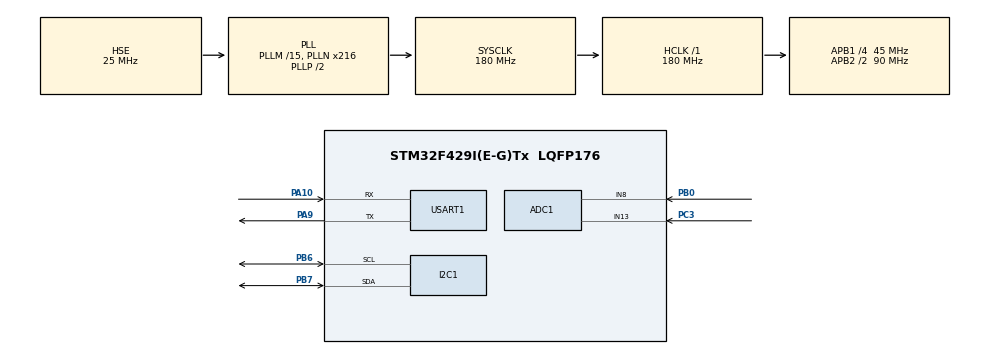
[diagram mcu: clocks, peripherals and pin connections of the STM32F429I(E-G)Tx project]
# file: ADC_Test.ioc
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ADC1.Channel-1\#ChannelRegularConversion=ADC_CHANNEL_13
ADC1.Channel-2\#ChannelRegularConversion=ADC_CHANNEL_8
ADC1.ContinuousConvMode=ENABLE
ADC1.DMAContinuousRequests=ENABLE
ADC1.NbrOfConversion=2
ADC1.NbrOfConversionFlag=1
ADC1.Rank-1\#ChannelRegularConversion=1
ADC1.Rank-2\#ChannelRegularConversion=2
ADC1.SamplingTime-1\#ChannelRegularConversion=ADC_SAMPLETIME_144CYCLES
ADC1.SamplingTime-2\#ChannelRegularConversion=ADC_SAMPLETIME_144CYCLES
ADC1.ScanConvMode=ENABLE
ADC1.master=1
Dma.ADC1.0.Direction=DMA_PERIPH_TO_MEMORY
Dma.ADC1.0.FIFOMode=DMA_FIFOMODE_DISABLE
Dma.ADC1.0.Instance=DMA2_Stream0
Dma.ADC1.0.MemDataAlignment=DMA_MDATAALIGN_HALFWORD
Dma.ADC1.0.MemInc=DMA_MINC_ENABLE
Dma.ADC1.0.Mode=DMA_CIRCULAR
Dma.ADC1.0.PeriphDataAlignment=DMA_PDATAALIGN_HALFWORD
Dma.ADC1.0.PeriphInc=DMA_PINC_DISABLE
Dma.ADC1.0.Priority=DMA_PRIORITY_LOW
Dma.Request0=ADC1
Mcu.Family=STM32F4
Mcu.Name=STM32F429I(E-G)Tx
Mcu.Package=LQFP176
NVIC.DMA2_Stream0_IRQn=true\:0\:0\:false\:false\:true\:false\:true\:true
NVIC.PriorityGroup=NVIC_PRIORITYGROUP_4
NVIC.TIM6_DAC_IRQn=true\:0\:0\:false\:false\:true\:true\:true\:true
PA10.Mode=Asynchronous
PA10.Signal=USART1_RX
PA13.Mode=Serial_Wire
PA13.Signal=SYS_JTMS-SWDIO
PA14.Mode=Serial_Wire
PA14.Signal=SYS_JTCK-SWCLK
PA9.Mode=Asynchronous
PA9.Signal=USART1_TX
PB0.Signal=ADCx_IN8
PB6.Mode=I2C
PB6.Signal=I2C1_SCL
PB7.Mode=I2C
PB7.Signal=I2C1_SDA
PC3.Signal=ADCx_IN13
PH0/OSC_IN.Mode=HSE-External-Oscillator
PH0/OSC_IN.Signal=RCC_OSC_IN
PH1/OSC_OUT.Mode=HSE-External-Oscillator
PH1/OSC_OUT.Signal=RCC_OSC_OUT
ProjectManager.HeapSize=0x200
ProjectManager.StackSize=0x400
ProjectManager.TargetToolchain=MDK-ARM V5.32
RCC.48MHZClocksFreq_Value=90000000
RCC.AHBFreq_Value=180000000
RCC.APB1CLKDivider=RCC_HCLK_DIV4
RCC.APB1Freq_Value=45000000
RCC.APB1TimFreq_Value=90000000
RCC.APB2CLKDivider=RCC_HCLK_DIV2
RCC.APB2Freq_Value=90000000
RCC.APB2TimFreq_Value=180000000
RCC.CortexFreq_Value=180000000
RCC.HCLKFreq_Value=180000000
RCC.HSE_VALUE=25000000
RCC.HSI_VALUE=16000000
RCC.LSE_VALUE=32768
RCC.PLLM=15
RCC.PLLN=216
RCC.PLLSourceVirtual=RCC_PLLSOURCE_HSE
RCC.SYSCLKFreq_VALUE=180000000
RCC.SYSCLKSource=RCC_SYSCLKSOURCE_PLLCLK
RCC.VCOOutputFreq_Value=360000000
SH.ADCx_IN13.0=ADC1_IN13,IN13
SH.ADCx_IN8.0=ADC1_IN8,IN8
TIM6.Period=99
TIM6.Prescaler=8999
USART1.VirtualMode=VM_ASYNC
VP_TIM6_VS_ClockSourceINT.Mode=Enable_Timer
board=custom

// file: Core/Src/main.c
/* USER CODE BEGIN Header */
/**
  ******************************************************************************
  * @file           : main.c
  * @brief          : Main program body
  ******************************************************************************
  * @attention
  *
  * Copyright (c) 2026 STMicroelectronics.
  * All rights reserved.
  *
  * This software is licensed under terms that can be found in the LICENSE file
  * in the root directory of this software component.
  * If no LICENSE file comes with this software, it is provided AS-IS.
  *
  ******************************************************************************
  */
/* USER CODE END Header */
#include "main.h"

/* USER CODE BEGIN Includes */

#include <stdio.h>
#include <string.h>
#include "oled.h"

/* USER CODE END Includes */

/* USER CODE BEGIN PD */
/* 迟滞回差（单位：光强的 1%，即 0~100 里的 2 格）
 * 含义：进入报警和解除报警用不同的门槛，中间这条窄带里保持原状态不动。 */
#define ALARM_HYST   2u
/* USER CODE END PD */

ADC_HandleTypeDef hadc1;
DMA_HandleTypeDef hdma_adc1;

I2C_HandleTypeDef hi2c1;

TIM_HandleTypeDef htim6;

UART_HandleTypeDef huart1;

void SystemClock_Config(void);
static void MX_GPIO_Init(void);
static void MX_DMA_Init(void);
static void MX_ADC1_Init(void);
static void MX_USART1_UART_Init(void);
static void MX_I2C1_Init(void);
static void MX_TIM6_Init(void);

/* USER CODE BEGIN 0 */

/* ============================================================================
 * TIM6 的 10ms 节拍计数
 *
 * 为什么是 volatile：
 *   它被【中断】里改、被【主循环】读。不加 volatile 的话，编译器看到主循环里
 *   没人改过它，可能把值缓存进寄存器 → 主循环永远读到旧值 → 一次都不采样。
 *
 * 为什么叫 tick10：
 *   每次中断代表 10ms，所以"20 个 tick" = 200ms。
 * ========================================================================== */
volatile uint32_t g_tick10 = 0;

/* ============================================================================
 * ADC 的 DMA 缓冲区
 *
 *   两个 uint16_t，对应 ADC 扫描的两个 Rank：
 *     adc_buf[0] ← Rank1 (IN13, PC3 电位器)
 *     adc_buf[1] ← Rank2 (IN8,  PB0 传感器)
 *
 * 为什么是 uint16_t 而不是 uint8_t：
 *   ADC 是 12 位，值域 0~4095，1 个字节装不下，必须 2 字节。
 *
 * 为什么要 volatile：
 *   它被 DMA（硬件）改、被主循环读。不加的话编译器可能把值缓存进寄存器，
 *   主循环就永远读到开机时的 0。
 * ========================================================================== */
volatile uint16_t adc_buf[2] = { 0u, 0u };

/* ============================================================================
 * 滑动平均滤波（提高任务）
 *
 * 原理：保留最近 N 次采样，取平均。随机噪声会被抹平，
 *       而真实的变化（转电位器、光照变化）因为比较慢，能保留下来。
 *
 * 实现技巧：不每次重新求和，而是"加上新的、减去旧的"。
 *       这样每次只要 1 次加、1 次减，不用循环 N 次。
 *       求和是精确的（加减的都是同一个数），不会累积误差。
 *
 * 代价：数据晚 N/2 次采样才完全反映上去 —— 平均是有"惯性"的。
 * ========================================================================== */
#define AVG_N   8                       /* 必须是 2 的幂，才好用 & 代替 % */

static uint16_t hPot[AVG_N] = { 0 };    /* 最近 N 次电位器采样 */
static uint16_t hSen[AVG_N] = { 0 };    /* 最近 N 次传感器采样 */
static uint8_t  hIdx = 0;               /* 当前写到第几格 */
static uint32_t sPot = 0;               /* 电位器的滑动和 */
static uint32_t sSen = 0;               /* 传感器的滑动和 */

/* 报警灯：板载 RGB 红灯 PH10。
 * 共阳极接法 → 输出低电平 = 点亮，输出高电平 = 熄灭。
 * 这里自己初始化，不依赖 CubeMX 里有没有配这个脚。 */
#define ALARM_LED_PORT   GPIOH
#define ALARM_LED_PIN    GPIO_PIN_10

static void LED_Init(void)
{
    GPIO_InitTypeDef g = {0};

    __HAL_RCC_GPIOH_CLK_ENABLE();
    g.Pin   = ALARM_LED_PIN;
    g.Mode  = GPIO_MODE_OUTPUT_PP;
    g.Pull  = GPIO_NOPULL;
    g.Speed = GPIO_SPEED_FREQ_LOW;
    HAL_GPIO_Init(ALARM_LED_PORT, &g);

    HAL_GPIO_WritePin(ALARM_LED_PORT, ALARM_LED_PIN, GPIO_PIN_SET);   /* 上电默认灭 */
}

static void LED_Set(uint8_t on)
{
    /* 共阳极：on=1 要拉低，on=0 要拉高 */
    HAL_GPIO_WritePin(ALARM_LED_PORT, ALARM_LED_PIN, on ? GPIO_PIN_RESET : GPIO_PIN_SET);
}

/* USER CODE END 0 */

int main(void)
{

  /* MCU Configuration--------------------------------------------------------*/

  /* Reset of all peripherals, Initializes the Flash interface and the Systick. */
  HAL_Init();

  /* Configure the system clock */
  SystemClock_Config();

  /* Initialize all configured peripherals */
  MX_GPIO_Init();
  MX_DMA_Init();
  MX_ADC1_Init();
  MX_USART1_UART_Init();
  MX_I2C1_Init();
  MX_TIM6_Init();
  /* USER CODE BEGIN 2 */
    LED_Init();
    OLED_Init();
    OLED_ShowStr(0, 0, "ADC Monitor", OLED_SIZE_8X16);

    /* 启动 TIM6 的 10ms 中断节拍（注意 IT：中断方式，不是纯硬件启动） */
    HAL_TIM_Base_Start_IT(&htim6);

    /* ===================== 启动 ADC + DMA（只调这一次！）=====================
     * 这一行之后，ADC 和 DMA 就自己跑起来了：
     *   ADC 连续转换 → 每转完 2 个（两路）就通知 DMA → DMA 搬进 adc_buf
     *   → 因为是 Circular 模式，搬完自动回到开头继续，永不停
     *
     * 主循环里再也不需要 HAL_ADC_Start / Poll。
     * ====================================================================== */
    HAL_ADC_Start_DMA(&hadc1, (uint32_t *)adc_buf, 2);

    /* 关掉 DMA 的"传输完成"中断。
     * CubeMX 的 NVIC 里那一项锁死不让取消，但寄存器层面可以屏蔽。
     * 我们要的是"安静地搬"——搬完不需要叫 CPU。 */
    __HAL_DMA_DISABLE_IT(hadc1.DMA_Handle, DMA_IT_TC);
  /* USER CODE END 2 */

  /* Infinite loop */
  while (1)
  {

    /* USER CODE BEGIN 3 */
    static uint32_t last  = 0;
    static uint8_t  alarm = 0;      /* 报警状态：必须跨轮次保持，迟滞才有意义 */

    /* 改成看 TIM6 的节拍：20 tick × 10ms = 200ms
     * 无符号相减天然能处理回绕，不用担心计数器溢出 */
    if (g_tick10 - last >= 20)
    {
        char     buf[48];
        uint32_t potRaw = 0, senRaw = 0;
        uint32_t potAvg = 0, senAvg = 0;
        uint32_t potMv  = 0, senMv  = 0;
        uint32_t lux    = 0;
        uint32_t thresh = 0;

        last = g_tick10;

        /* ===================== DMA 版本 =====================
         * 主循环里【不再启动转换、不再等待】——只读数组。
         *
         *   adc_buf[0] = Rank1 = IN13 = PC3 电位器
         *   adc_buf[1] = Rank2 = IN8  = PB0 传感器
         *
         * DMA 在后台不停地搬，我们每次过来拿最新的两份就行。
         * ================================================== */
        potRaw = adc_buf[0];
        senRaw = adc_buf[1];

        /* ===================== 滑动平均滤波 =====================
         * "加上新的、减去最旧的"，然后除以 N。
         * 用 >> 3 代替 / 8（N 是 2 的幂，移位比除法快得多） */
        sPot = sPot - hPot[hIdx] + potRaw;
        sSen = sSen - hSen[hIdx] + senRaw;
        hPot[hIdx] = (uint16_t)potRaw;
        hSen[hIdx] = (uint16_t)senRaw;
        hIdx = (uint8_t)((hIdx + 1u) & (AVG_N - 1u));

        potAvg = sPot >> 3;             /* / 8 */
        senAvg = sSen >> 3;

        /* 换算：电压(mV) = 原始值 × 3300 / 4095
         *
         * 分工（方便你对比滤波效果）：
         *   小字两行 = 原始值（会跳）
         *   大字两行 = 平均后的值（稳）
         */
        potMv = (potRaw * 3300u) / 4095u;
        senMv = (senRaw * 3300u) / 4095u;

        /* ===================== 任务三：可调阈值报警 =====================
         * 两路都换算到「0~100 的同一把尺子」再比：
         *   thresh —— 电位器拧出来的报警门槛
         *   lux    —— 当前光强（越亮越大）
         * 都换算之后再比较，逻辑才直观：光越亮越容易超线。
         * ============================================================= */
        thresh = (potAvg * 100u) / 4095u;
        lux    = ((4095u - senAvg) * 100u) / 4095u;   /* AO 随亮度下降，所以要取反 */

        /* 可调阈值报警（带迟滞）
         *   进入报警：lux 明确高于门槛（thresh + HYST）
         *   解除报警：lux 明确低于门槛（thresh - HYST）
         *   中间窄带保持原状态，避免阈值附近来回抖动。
         * 注意：迟滞靠"记住上次状态"生效，所以 alarm 必须是 static。 */
        {
            int32_t lo = (int32_t)thresh - (int32_t)ALARM_HYST;
            int32_t hi = (int32_t)thresh + (int32_t)ALARM_HYST;

            if ((int32_t)lux > hi)            /* 明显超过门槛 → 报警 */
            {
                alarm = 1;
            }
            else if ((int32_t)lux < lo)       /* 明显低于门槛 → 解除 */
            {
                alarm = 0;
            }
            /* 落在 thresh±HYST 这条窄带里：保持上一次的状态，不动 */
        }
        LED_Set(alarm);                               /* 报警则点亮板载红灯 */

        /* ---- OLED 显示 ---- */
        sprintf(buf, "TH :%3lu%%", (unsigned long)thresh);
        OLED_ShowStr(0, 0, buf, OLED_SIZE_8X16);

        sprintf(buf, "LUX:%3lu%%", (unsigned long)lux);
        OLED_ShowStr(0, 2, buf, OLED_SIZE_8X16);

        /* 状态 + 两路原始值/电压：小字排布，五样信息一屏放下 */
        /* 状态行：顺便把节拍数显示出来 —— 数字在涨就说明 TIM6 中断真的在跑 */
        sprintf(buf, "%s t=%lu",
                alarm ? "ALARM " : "NORMAL",
                (unsigned long)g_tick10);
        OLED_ShowStr(0, 4, buf, OLED_SIZE_6X8);

        sprintf(buf, "P:%4lu(%lu.%02luV)",
                (unsigned long)potRaw,
                (unsigned long)(potMv / 1000u), (unsigned long)((potMv % 1000u) / 10u));
        OLED_ShowStr(0, 6, buf, OLED_SIZE_6X8);

        sprintf(buf, "S:%4lu(%lu.%02luV)",
                (unsigned long)senRaw,
                (unsigned long)(senMv / 1000u), (unsigned long)((senMv % 1000u) / 10u));
        OLED_ShowStr(0, 7, buf, OLED_SIZE_6X8);

        /* ---- 串口同步打印 ---- */
        sprintf(buf, "TH=%lu%%  LUX=%lu%%  %s  P=%lu(%lumV) S=%lu(%lumV)\r\n",
                (unsigned long)thresh, (unsigned long)lux,
                alarm ? "ALARM" : "NORMAL",
                (unsigned long)potRaw, (unsigned long)potMv,
                (unsigned long)senRaw, (unsigned long)senMv);
        HAL_UART_Transmit(&huart1, (uint8_t *)buf, (uint16_t)strlen(buf), 100);
    }
  }
  /* USER CODE END 3 */
}

void SystemClock_Config(void)
{
  RCC_OscInitTypeDef RCC_OscInitStruct = {0};
  RCC_ClkInitTypeDef RCC_ClkInitStruct = {0};

  /** Configure the main internal regulator output voltage
  */
  __HAL_RCC_PWR_CLK_ENABLE();
  __HAL_PWR_VOLTAGESCALING_CONFIG(PWR_REGULATOR_VOLTAGE_SCALE1);

  /** Initializes the RCC Oscillators according to the specified parameters
  * in the RCC_OscInitTypeDef structure.
  */
  RCC_OscInitStruct.OscillatorType = RCC_OSCILLATORTYPE_HSE;
  RCC_OscInitStruct.HSEState = RCC_HSE_ON;
  RCC_OscInitStruct.PLL.PLLState = RCC_PLL_ON;
  RCC_OscInitStruct.PLL.PLLSource = RCC_PLLSOURCE_HSE;
  RCC_OscInitStruct.PLL.PLLM = 15;
  RCC_OscInitStruct.PLL.PLLN = 216;
  RCC_OscInitStruct.PLL.PLLP = RCC_PLLP_DIV2;
  RCC_OscInitStruct.PLL.PLLQ = 4;
  if (HAL_RCC_OscConfig(&RCC_OscInitStruct) != HAL_OK)
  {
    Error_Handler();
  }

  /** Activate the Over-Drive mode
  */
  if (HAL_PWREx_EnableOverDrive() != HAL_OK)
  {
    Error_Handler();
  }

  /** Initializes the CPU, AHB and APB buses clocks
  */
  RCC_ClkInitStruct.ClockType = RCC_CLOCKTYPE_HCLK|RCC_CLOCKTYPE_SYSCLK
                              |RCC_CLOCKTYPE_PCLK1|RCC_CLOCKTYPE_PCLK2;
  RCC_ClkInitStruct.SYSCLKSource = RCC_SYSCLKSOURCE_PLLCLK;
  RCC_ClkInitStruct.AHBCLKDivider = RCC_SYSCLK_DIV1;
  RCC_ClkInitStruct.APB1CLKDivider = RCC_HCLK_DIV4;
  RCC_ClkInitStruct.APB2CLKDivider = RCC_HCLK_DIV2;

  if (HAL_RCC_ClockConfig(&RCC_ClkInitStruct, FLASH_LATENCY_5) != HAL_OK)
  {
    Error_Handler();
  }
}

static void MX_ADC1_Init(void)
{

  ADC_ChannelConfTypeDef sConfig = {0};

  /** Configure the global features of the ADC (Clock, Resolution, Data Alignment and number of conversion)
  */
  hadc1.Instance = ADC1;
  hadc1.Init.ClockPrescaler = ADC_CLOCK_SYNC_PCLK_DIV4;
  hadc1.Init.Resolution = ADC_RESOLUTION_12B;
  hadc1.Init.ScanConvMode = ENABLE;
  hadc1.Init.ContinuousConvMode = ENABLE;
  hadc1.Init.DiscontinuousConvMode = DISABLE;
  hadc1.Init.ExternalTrigConvEdge = ADC_EXTERNALTRIGCONVEDGE_NONE;
  hadc1.Init.ExternalTrigConv = ADC_SOFTWARE_START;
  hadc1.Init.DataAlign = ADC_DATAALIGN_RIGHT;
  hadc1.Init.NbrOfConversion = 2;
  hadc1.Init.DMAContinuousRequests = ENABLE;
  hadc1.Init.EOCSelection = ADC_EOC_SINGLE_CONV;
  if (HAL_ADC_Init(&hadc1) != HAL_OK)
  {
    Error_Handler();
  }

  /** Configure for the selected ADC regular channel its corresponding rank in the sequencer and its sample time.
  */
  sConfig.Channel = ADC_CHANNEL_13;
  sConfig.Rank = 1;
  sConfig.SamplingTime = ADC_SAMPLETIME_144CYCLES;
  if (HAL_ADC_ConfigChannel(&hadc1, &sConfig) != HAL_OK)
  {
    Error_Handler();
  }

  /** Configure for the selected ADC regular channel its corresponding rank in the sequencer and its sample time.
  */
  sConfig.Channel = ADC_CHANNEL_8;
  sConfig.Rank = 2;
  if (HAL_ADC_ConfigChannel(&hadc1, &sConfig) != HAL_OK)
  {
    Error_Handler();
  }

}

static void MX_I2C1_Init(void)
{

  hi2c1.Instance = I2C1;
  hi2c1.Init.ClockSpeed = 100000;
  hi2c1.Init.DutyCycle = I2C_DUTYCYCLE_2;
  hi2c1.Init.OwnAddress1 = 0;
  hi2c1.Init.AddressingMode = I2C_ADDRESSINGMODE_7BIT;
  hi2c1.Init.DualAddressMode = I2C_DUALADDRESS_DISABLE;
  hi2c1.Init.OwnAddress2 = 0;
  hi2c1.Init.GeneralCallMode = I2C_GENERALCALL_DISABLE;
  hi2c1.Init.NoStretchMode = I2C_NOSTRETCH_DISABLE;
  if (HAL_I2C_Init(&hi2c1) != HAL_OK)
  {
    Error_Handler();
  }

  /** Configure Analogue filter
  */
  if (HAL_I2CEx_ConfigAnalogFilter(&hi2c1, I2C_ANALOGFILTER_ENABLE) != HAL_OK)
  {
    Error_Handler();
  }

  /** Configure Digital filter
  */
  if (HAL_I2CEx_ConfigDigitalFilter(&hi2c1, 0) != HAL_OK)
  {
    Error_Handler();
  }

}

static void MX_TIM6_Init(void)
{

  TIM_MasterConfigTypeDef sMasterConfig = {0};

  htim6.Instance = TIM6;
  htim6.Init.Prescaler = 8999;
  htim6.Init.CounterMode = TIM_COUNTERMODE_UP;
  htim6.Init.Period = 99;
  htim6.Init.AutoReloadPreload = TIM_AUTORELOAD_PRELOAD_DISABLE;
  if (HAL_TIM_Base_Init(&htim6) != HAL_OK)
  {
    Error_Handler();
  }
  sMasterConfig.MasterOutputTrigger = TIM_TRGO_RESET;
  sMasterConfig.MasterSlaveMode = TIM_MASTERSLAVEMODE_DISABLE;
  if (HAL_TIMEx_MasterConfigSynchronization(&htim6, &sMasterConfig) != HAL_OK)
  {
    Error_Handler();
  }

}

static void MX_USART1_UART_Init(void)
{

  huart1.Instance = USART1;
  huart1.Init.BaudRate = 115200;
  huart1.Init.WordLength = UART_WORDLENGTH_8B;
  huart1.Init.StopBits = UART_STOPBITS_1;
  huart1.Init.Parity = UART_PARITY_NONE;
  huart1.Init.Mode = UART_MODE_TX_RX;
  huart1.Init.HwFlowCtl = UART_HWCONTROL_NONE;
  huart1.Init.OverSampling = UART_OVERSAMPLING_16;
  if (HAL_UART_Init(&huart1) != HAL_OK)
  {
    Error_Handler();
  }

}

static void MX_DMA_Init(void)
{

  /* DMA controller clock enable */
  __HAL_RCC_DMA2_CLK_ENABLE();

  /* DMA interrupt init */
  /* DMA2_Stream0_IRQn interrupt configuration */
  HAL_NVIC_SetPriority(DMA2_Stream0_IRQn, 0, 0);
  HAL_NVIC_EnableIRQ(DMA2_Stream0_IRQn);

}

static void MX_GPIO_Init(void)
{

  /* GPIO Ports Clock Enable */
  __HAL_RCC_GPIOH_CLK_ENABLE();
  __HAL_RCC_GPIOC_CLK_ENABLE();
  __HAL_RCC_GPIOB_CLK_ENABLE();
  __HAL_RCC_GPIOA_CLK_ENABLE();

}

/* USER CODE BEGIN 4 */

/* ============================================================================
 * TIM6 更新中断的回调（HAL 在 TIM6_DAC_IRQHandler 里转调到这里）
 *
 * 中断里只做一件事：把节拍数 +1。别的什么都不干。
 * 采 ADC、刷 OLED 这些活儿全部留给主循环。
 * ========================================================================== */
void HAL_TIM_PeriodElapsedCallback(TIM_HandleTypeDef *htim)
{
    if (htim->Instance == TIM6)
    {
        g_tick10++;                 /* 每 10ms 加一 */
    }
}

/* USER CODE END 4 */

void Error_Handler(void)
{
  __disable_irq();
  while (1)
  {
  }
}
